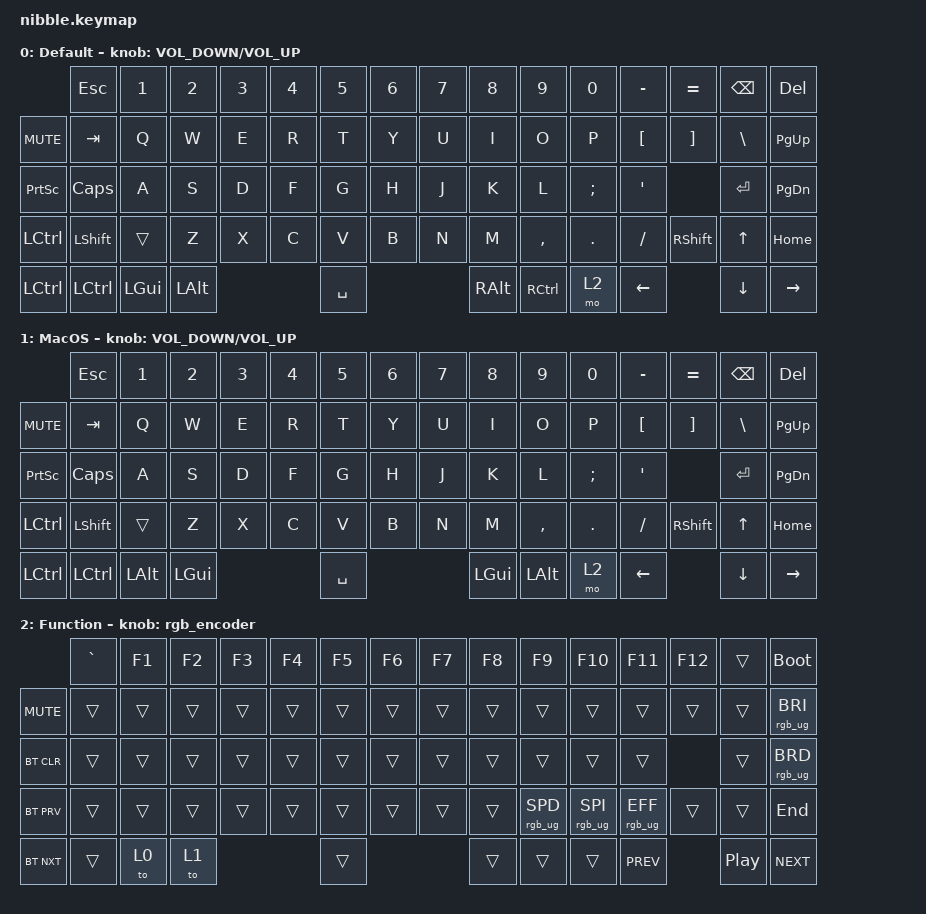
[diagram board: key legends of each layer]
/*
 * Copyright (c) 2020 The ZMK Contributors
 *....
 * SPDX-License-Identifier: MIT
 */

#include <behaviors.dtsi>
#include <dt-bindings/zmk/keys.h>
#include <dt-bindings/zmk/bt.h>
#include <dt-bindings/zmk/rgb.h>

/ {
    sensors: sensors {
        compatible = "zmk,keymap-sensors";
        sensors = <&encoder_1>;
        triggers-per-rotation = <20>;
    };

    behaviors {
        rgb_encoder: rgb_encoder {
            compatible = "zmk,behavior-sensor-rotate";
            #sensor-binding-cells = <0>;
            bindings = <&rgb_ug RGB_HUI>, <&rgb_ug RGB_HUD>; 
        };
    };

    underglow_caps_indicator {
        compatible = "zmk,ug-indicator-caps-lock";
        led-strip = <&led_strip>;
        color = <255 0 0>;
    };

    keymap {
        compatible = "zmk,keymap";

        default_layer {
            display-name = "Default";

            sensor-bindings = <&inc_dec_kp C_VOLUME_DOWN C_VOLUME_UP>;

            bindings = <
            &kp ESC   &kp N1    &kp N2    &kp N3    &kp N4    &kp N5    &kp N6    &kp N7    &kp N8   &kp N9     &kp N0    &kp MINUS &kp EQUAL &kp BSPC &kp DEL
&kp C_MUTE  &kp TAB   &kp Q     &kp W     &kp E     &kp R     &kp T     &kp Y     &kp U     &kp I    &kp O      &kp P     &kp LBKT  &kp RBKT  &kp BSLH &kp PG_UP
&kp PSCRN   &kp CAPS  &kp A     &kp S     &kp D     &kp F     &kp G     &kp H     &kp J     &kp K    &kp L      &kp SEMI  &kp SQT             &kp RET  &kp PG_DN
&kp LCTRL   &kp LSHFT &trans    &kp Z     &kp X     &kp C     &kp V     &kp B     &kp N     &kp M    &kp COMMA  &kp DOT   &kp FSLH  &kp RSHFT &kp UP   &kp HOME
&kp LCTRL   &kp LCTRL &kp LGUI  &kp LALT                      &kp SPACE                     &kp RALT &kp RCTRL  &mo 2     &kp LEFT            &kp DOWN &kp RIGHT
            >;
        };
        macos_layer {
            display-name = "MacOS";

            sensor-bindings = <&inc_dec_kp C_VOLUME_DOWN C_VOLUME_UP>;

            bindings = <
            &kp ESC   &kp N1    &kp N2    &kp N3    &kp N4    &kp N5    &kp N6    &kp N7    &kp N8   &kp N9     &kp N0    &kp MINUS &kp EQUAL &kp BSPC &kp DEL
&kp C_MUTE  &kp TAB   &kp Q     &kp W     &kp E     &kp R     &kp T     &kp Y     &kp U     &kp I    &kp O      &kp P     &kp LBKT  &kp RBKT  &kp BSLH &kp PG_UP
&kp PSCRN   &kp CAPS  &kp A     &kp S     &kp D     &kp F     &kp G     &kp H     &kp J     &kp K    &kp L      &kp SEMI  &kp SQT             &kp RET  &kp PG_DN
&kp LCTRL   &kp LSHFT &trans    &kp Z     &kp X     &kp C     &kp V     &kp B     &kp N     &kp M    &kp COMMA  &kp DOT   &kp FSLH  &kp RSHFT &kp UP   &kp HOME
&kp LCTRL   &kp LCTRL &kp LALT  &kp LGUI                      &kp SPACE                     &kp LGUI &kp LALT   &mo 2     &kp LEFT            &kp DOWN &kp RIGHT
            >;
        };
        function_layer {
            display-name = "Function";

            sensor-bindings = <&rgb_encoder>;

            bindings = <
            &kp GRAVE &kp F1    &kp F2    &kp F3    &kp F4    &kp F5    &kp F6    &kp F7    &kp F8  &kp F9             &kp F10           &kp F11   &kp F12   &trans      &bootloader
&kp C_MUTE  &trans    &trans    &trans    &trans    &trans    &trans    &trans    &trans    &trans  &trans             &trans            &trans    &trans    &trans      &rgb_ug RGB_BRI
&bt BT_CLR  &trans    &trans    &trans    &trans    &trans    &trans    &trans    &trans    &trans  &trans             &trans            &trans              &trans      &rgb_ug RGB_BRD
&bt BT_PRV  &trans    &trans    &trans    &trans    &trans    &trans    &trans    &trans    &trans  &rgb_ug RGB_SPD    &rgb_ug RGB_SPI   &rgb_ug RGB_EFF &trans &trans   &kp END
&bt BT_NXT  &trans    &to 0     &to 1                         &trans                        &trans  &trans             &trans            &kp C_PREV          &kp C_PP    &kp C_NEXT
            >;
        };
    };
};
